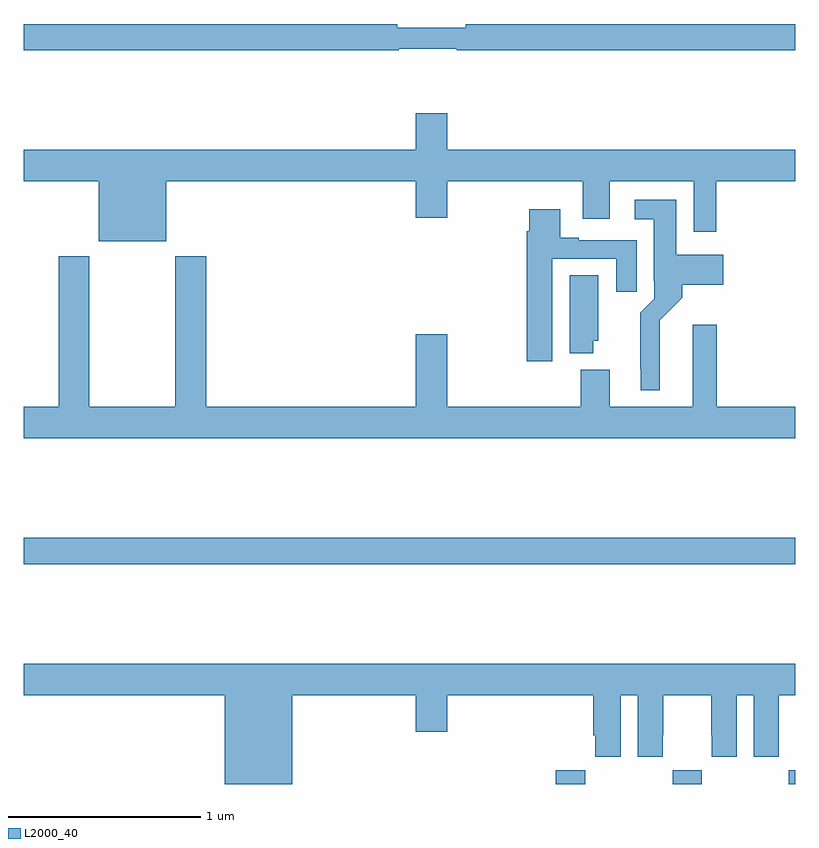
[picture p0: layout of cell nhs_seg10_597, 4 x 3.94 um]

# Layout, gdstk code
import gdstk
lib = gdstk.Library(unit=1e-6, precision=1e-09)
def R(c, l, rs):  # rectangles x0, y0, x1, y1
    for r in rs: c.add(gdstk.rectangle(r[:2], r[2:], *l))
def P(c, l, *ps):  # polygons
    for p in ps: c.add(gdstk.Polygon(p, *l))
L2000_40 = (2000, 40)

nhs_seg10_597 = lib.new_cell('nhs_seg10_597')
R(nhs_seg10_597, L2000_40, [(141.758,1322.5,141.911,1322.572), (142.365,1322.5,142.515,1322.572), (142.965,1322.5,143,1322.572), (139,1323.64,143,1323.776)])
P(nhs_seg10_597, L2000_40, [(140.945,1326.312),(141.245,1326.312),(141.245,1326.304),(143,1326.304),(143,1326.44),(141.292,1326.44),(141.292,1326.421),(140.936,1326.421),(140.936,1326.44),(139,1326.44),(139,1326.304),(140.945,1326.304)],
  [(139.738,1325.624),(141.032,1325.624),(141.032,1325.436),(141.196,1325.436),(141.196,1325.624),(141.899,1325.624),(141.899,1325.43),(142.039,1325.43),(142.039,1325.624),(142.473,1325.624),(142.473,1325.364),(142.589,1325.364),(142.589,1325.624),(143,1325.624),(143,1325.788),(141.196,1325.788),(141.196,1325.977),(141.032,1325.977),(141.032,1325.788),(139,1325.788),(139,1325.624),(139.388,1325.624),(139.388,1325.315),(139.738,1325.315)],
  [(142.297,1324.904),(142.415,1325.022),(142.415,1325.087),(142.627,1325.087),(142.627,1325.245),(142.384,1325.245),(142.384,1325.53),(142.167,1325.53),(142.167,1325.429),(142.265,1325.429),(142.265,1325.11),(142.269,1325.11),(142.269,1325.016),(142.195,1324.942),(142.195,1324.651),(142.199,1324.651),(142.199,1324.541),(142.297,1324.541)],
  [(141.739,1325.223),(142.073,1325.223),(142.073,1325.052),(142.177,1325.052),(142.177,1325.319),(141.877,1325.319),(141.877,1325.332),(141.781,1325.332),(141.781,1325.479),(141.62,1325.479),(141.62,1325.366),(141.608,1325.366),(141.608,1324.692),(141.739,1324.692)],
  [(143,1324.456),(142.592,1324.456),(142.592,1324.882),(142.469,1324.882),(142.469,1324.456),(142.039,1324.456),(142.039,1324.648),(141.887,1324.648),(141.887,1324.456),(141.196,1324.456),(141.196,1324.831),(141.032,1324.831),(141.032,1324.456),(139.946,1324.456),(139.946,1325.236),(139.786,1325.236),(139.786,1324.456),(139.341,1324.456),(139.341,1325.236),(139.181,1325.236),(139.181,1324.456),(139,1324.456),(139,1324.292),(143,1324.292)],
  [(141.952,1324.797),(141.979,1324.797),(141.979,1325.138),(141.83,1325.138),(141.83,1324.733),(141.952,1324.733)],
  [(140.392,1322.96),(141.032,1322.96),(141.032,1322.772),(141.196,1322.772),(141.196,1322.96),(141.953,1322.96),(141.953,1322.752),(141.962,1322.752),(141.962,1322.64),(142.096,1322.64),(142.096,1322.96),(142.184,1322.96),(142.184,1322.64),(142.314,1322.64),(142.314,1322.752),(142.315,1322.752),(142.315,1322.96),(142.565,1322.96),(142.565,1322.752),(142.566,1322.752),(142.566,1322.64),(142.696,1322.64),(142.696,1322.96),(142.784,1322.96),(142.784,1322.64),(142.914,1322.64),(142.914,1322.752),(142.915,1322.752),(142.915,1322.96),(143,1322.96),(143,1323.124),(139,1323.124),(139,1322.96),(140.042,1322.96),(140.042,1322.5),(140.392,1322.5)])

lib.write_gds('nhs_seg10_597.gds')
